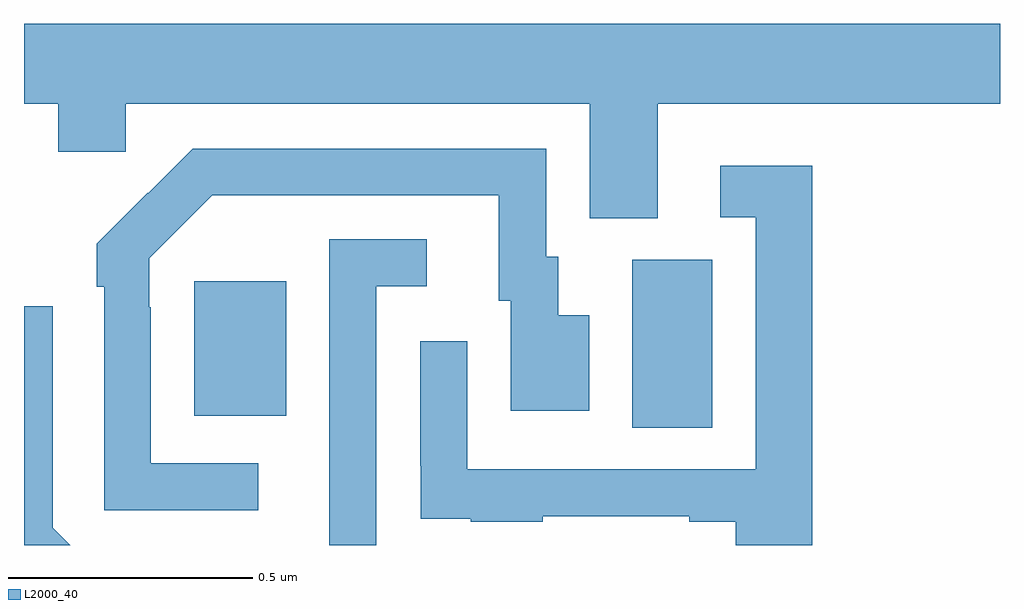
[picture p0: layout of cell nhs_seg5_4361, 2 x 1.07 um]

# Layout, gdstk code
import gdstk
lib = gdstk.Library(unit=1e-6, precision=1e-09)
def R(c, l, rs):  # rectangles x0, y0, x1, y1
    for r in rs: c.add(gdstk.rectangle(r[:2], r[2:], *l))
def P(c, l, *ps):  # polygons
    for p in ps: c.add(gdstk.Polygon(p, *l))
L2000_40 = (2000, 40)

nhs_seg5_4361 = lib.new_cell('nhs_seg5_4361')
R(nhs_seg5_4361, L2000_40, [(170.246,912.04,170.41,912.384), (169.349,912.065,169.537,912.34)])
P(nhs_seg5_4361, L2000_40, [(169,912.704),(169.07,912.704),(169.07,912.606),(169.209,912.606),(169.209,912.704),(170.159,912.704),(170.159,912.469),(170.299,912.469),(170.299,912.704),(171,912.704),(171,912.868),(169,912.868)],
  [(169.48,911.967),(169.26,911.967),(169.26,912.287),(169.257,912.287),(169.257,912.387),(169.386,912.516),(169.973,912.516),(169.973,912.3),(169.997,912.3),(169.997,912.075),(170.158,912.075),(170.158,912.271),(170.095,912.271),(170.095,912.39),(170.07,912.39),(170.07,912.612),(169.346,912.612),(169.255,912.521),(169.254,912.522),(169.149,912.417),(169.149,912.329),(169.164,912.329),(169.164,911.871),(169.48,911.871)],
  [(170.615,912.577),(170.427,912.577),(170.427,912.471),(170.499,912.471),(170.499,911.955),(169.908,911.955),(169.908,912.217),(169.812,912.217),(169.812,911.962),(169.813,911.962),(169.813,911.853),(169.915,911.853),(169.915,911.847),(170.063,911.847),(170.063,911.859),(170.363,911.859),(170.363,911.847),(170.459,911.847),(170.459,911.799),(170.615,911.799)],
  [(169.722,912.33),(169.825,912.33),(169.825,912.426),(169.626,912.426),(169.626,911.969),(169.625,911.969),(169.625,911.799),(169.722,911.799)],
  [(169.059,911.835),(169.059,912.289),(169,912.289),(169,911.799),(169.095,911.799)])

lib.write_gds('nhs_seg5_4361.gds')
